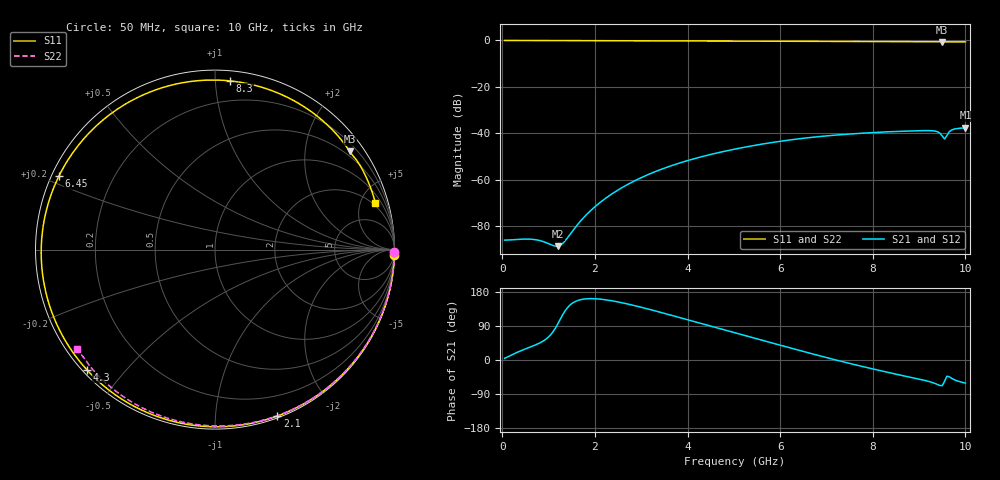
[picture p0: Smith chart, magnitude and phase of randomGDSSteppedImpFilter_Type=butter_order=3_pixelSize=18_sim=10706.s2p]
! freq	dB(S11)	phase(S11)	dB(S12)	phase(S12)
!  dB(S21)	phase(S21)	dB(S22)	phase(S22)
!S-par simulation data
#  GHz  S  DB  R 50
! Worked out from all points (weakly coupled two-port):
!   200 points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, 50 MHz to 10 GHz, reference 50 ohm
!   highest |S21| = -37.55 dB at 10 GHz (marker M1); lowest = -88.5 dB at 1.2 GHz (marker M2)
!   lowest |S11| = -0.6 dB at 9.5 GHz (marker M3), VSWR 27.05, Z = 19 + j151 ohm
!   |S11| at or under -10 dB: nowhere
!   |S22| runs from -0.5 to 0.0 dB; largest |S21 - S12| = 0
!   S11 on the Smith chart (normalised r, x): 50 MHz: 0, -67; 2.1 GHz: 0.02, -1.44; 4.3 GHz: 0.01, -0.40; 6.45 GHz: 0.02, +0.22; 8.3 GHz: 0.06, +1.09; 10 GHz: 1.68, +6.57
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0.05  -0.00 -1.7  -85.90 4.4  -85.90 4.4  -0.00 -0.8
0.6  -0.01 -20.4  -85.48 34.1  -85.48 34.1  -0.01 -10.0
1.2  -0.05 -40.4  -88.50 95.6  -88.50 95.6  -0.02 -19.9
1.6  -0.07 -53.4  -79.84 155.6  -79.84 155.6  -0.03 -26.4
1.75  -0.07 -58.3  -76.35 160.6  -76.35 160.6  -0.04 -28.9
2.1  -0.09 -69.4  -69.88 160.8  -69.88 160.8  -0.04 -34.5
2.7  -0.11 -88.3  -62.03 148.0  -62.03 148.0  -0.06 -44.0
3.4  -0.14 -109.7  -55.67 126.4  -55.67 126.4  -0.07 -54.8
4.3  -0.19 -136.9  -50.04 96.0  -50.04 96.0  -0.10 -68.3
5.05  -0.23 -159.7  -46.63 70.8  -46.63 70.8  -0.12 -79.2
5.75  -0.28 178.2  -44.14 47.4  -44.14 47.4  -0.15 -89.0
6.45  -0.34 154.8  -42.20 24.2  -42.20 24.2  -0.18 -98.5
6.7  -0.37 146.1  -41.64 16.0  -41.64 16.0  -0.20 -101.9
7.55  -0.44 114.7  -40.19 -10.5  -40.19 -10.5  -0.25 -113.0
8.3  -0.50 85.0  -39.32 -31.9  -39.32 -31.9  -0.31 -122.7
8.35  -0.51 83.0  -39.28 -33.3  -39.28 -33.3  -0.32 -123.3
8.8  -0.54 64.5  -38.96 -45.1  -38.96 -45.1  -0.36 -129.1
9.3  -0.60 44.0  -38.88 -59.9  -38.88 -59.9  -0.41 -135.4
9.5  -0.64 36.1  -41.09 -67.6  -41.09 -67.6  -0.44 -138.0
9.55  -0.64 34.3  -42.42 -56.3  -42.42 -56.3  -0.46 -138.7
9.7  -0.59 28.1  -38.54 -48.0  -38.54 -48.0  -0.47 -140.4
10  -0.62 16.3  -37.55 -60.9  -37.55 -60.9  -0.49 -144.2
